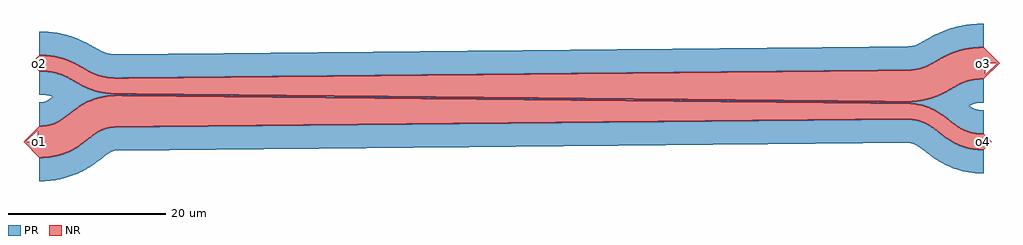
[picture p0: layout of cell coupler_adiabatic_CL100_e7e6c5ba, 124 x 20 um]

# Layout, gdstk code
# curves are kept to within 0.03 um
import gdstk
lib = gdstk.Library(unit=1e-6, precision=1e-09)
def P(c, l, *ps):  # polygons
    for p in ps: c.add(gdstk.Polygon(p, *l))
PR = (60, 0)
NR = (61, 0)

ng_49 = lib.new_cell('ng_49')
P(ng_49, NR, [(0,0.1),(-100.637,1.115),(-102.179,1.303),(-103.458,1.666),(-104.432,2.093),(-106.617,3.294),(-107.571,3.672),(-108.744,3.924),(-110,4),(-110,6),(-108.486,5.907),(-107.094,5.617),(-105.844,5.141),(-103.606,3.917),(-102.681,3.512),(-101.473,3.207),(-100,3.1),(0.372,4.107),(1.496,4.226),(2.484,4.505),(3.215,4.841),(5.318,5.998),(6.684,6.538),(7.481,6.747),(8.205,6.878),(8.985,6.963),(10,7),(10,3),(8.683,2.905),(7.654,2.646),(6.785,2.259),(4.682,1.102),(3.922,0.773),(3.189,0.524),(2.378,0.323),(1.643,0.201)],
  [(-110,-7),(-110,-3),(-109.337,-2.968),(-108.787,-2.883),(-108.251,-2.732),(-107.781,-2.532),(-107.008,-2.061),(-104.798,-0.436),(-104.123,-0.049),(-103.36,0.299),(-102.655,0.541),(-101.89,0.727),(-101.066,0.848),(-100.184,0.899),(0.495,-0.112),(1.266,-0.183),(1.976,-0.314),(2.751,-0.54),(3.448,-0.83),(4.543,-1.464),(6.727,-3.078),(7.744,-3.61),(8.787,-3.901),(10,-4),(10,-6),(9.832,-5.999),(9.035,-5.953),(8.301,-5.845),(7.626,-5.682),(6.891,-5.422),(6.232,-5.108),(5.641,-4.757),(3.494,-3.17),(2.665,-2.673),(2.083,-2.425),(1.522,-2.262),(0.994,-2.164),(0.267,-2.104),(-100.119,-3.101),(-101.213,-3.217),(-101.749,-3.368),(-102.219,-3.568),(-102.992,-4.039),(-105.202,-5.664),(-105.877,-6.051),(-106.64,-6.399),(-107.493,-6.683),(-108.27,-6.857),(-109.106,-6.964)])

unnamed_0_1 = lib.new_cell('Unnamed_0$1')

ps_51 = lib.new_cell('ps_51')
P(ps_51, PR, [(-100,3.1),(-101.473,3.207),(-102.681,3.512),(-103.606,3.917),(-105.844,5.141),(-107.094,5.617),(-108.486,5.907),(-110,6),(-110,9),(-108.835,8.958),(-107.92,8.858),(-107.055,8.702),(-106.246,8.495),(-105.5,8.247),(-104.572,7.858),(-102.234,6.585),(-101.721,6.355),(-100.937,6.16),(-100,6.1),(0.179,7.102),(0.895,7.166),(1.471,7.331),(4.018,8.702),(4.999,9.127),(5.964,9.454),(6.842,9.679),(7.97,9.874),(8.962,9.969),(10,10),(10,7),(8.985,6.963),(8.205,6.878),(7.481,6.747),(6.684,6.538),(5.963,6.282),(5.217,5.949),(3.283,4.877),(2.552,4.532),(1.667,4.261),(0.603,4.118)],
  [(10,-4),(8.787,-3.901),(7.744,-3.61),(6.727,-3.078),(4.543,-1.464),(3.448,-0.83),(2.751,-0.54),(1.976,-0.314),(1.266,-0.183),(0.495,-0.112),(-100,0.9),(-100.894,0.864),(-101.73,0.757),(-102.507,0.583),(-103.36,0.299),(-104.123,-0.049),(-104.798,-0.436),(-107.008,-2.061),(-107.781,-2.532),(-108.251,-2.732),(-108.787,-2.883),(-109.337,-2.968),(-110,-3),(-110,0),(-109.552,0.027),(-109.198,0.117),(-108.822,0.332),(-108.269,0.741),(-109.063,0.94),(-110,1),(-110,4),(-108.744,3.924),(-107.571,3.672),(-106.617,3.294),(-104.432,2.093),(-103.458,1.666),(-102.79,1.45),(-102.051,1.278),(-100.482,1.109),(0,0.1),(1.643,0.201),(2.378,0.323),(3.189,0.524),(3.922,0.773),(4.682,1.102),(6.785,2.259),(7.654,2.646),(8.683,2.905),(10,3),(10,0),(8.972,-0.092),(8.595,-0.205),(8.145,-0.415),(8.6,-0.704),(8.994,-0.872),(9.475,-0.971),(10,-1)],
  [(-110,-10),(-110,-7),(-109.106,-6.964),(-108.27,-6.857),(-107.493,-6.683),(-106.64,-6.399),(-105.877,-6.051),(-105.202,-5.664),(-102.992,-4.039),(-102.219,-3.568),(-101.295,-3.236),(-100.235,-3.104),(0.267,-2.104),(0.994,-2.164),(1.522,-2.262),(2.083,-2.425),(2.665,-2.673),(3.494,-3.17),(5.641,-4.757),(6.337,-5.163),(7.008,-5.469),(7.756,-5.719),(8.443,-5.872),(9.189,-5.967),(10,-6),(10,-9),(8.939,-8.957),(7.925,-8.827),(6.966,-8.613),(5.904,-8.259),(4.956,-7.827),(4.137,-7.356),(3.34,-6.814),(1.892,-5.711),(1.4,-5.396),(0.841,-5.183),(0.17,-5.103),(-100.137,-6.102),(-100.614,-6.157),(-100.951,-6.29),(-103.604,-8.203),(-104.496,-8.715),(-105.535,-9.189),(-106.703,-9.578),(-107.753,-9.812),(-108.856,-9.953)])

coupler_adiabatic_cl100_ = lib.new_cell('coupler_adiabatic_CL100_e7e6c5ba')
P(coupler_adiabatic_cl100_, NR, [(-110,-7),(-112,-5),(-110.5,-3.5),(-110.2,-3.5),(-111.718,-5),(-110.2,-5),(-110.2,-3.5),(-110.5,-3.5),(-110,-3)],
  [(-110,4),(-111,5),(-110.25,5.75),(-110.1,5.75),(-110.859,5),(-110.1,5),(-110.1,5.75),(-110.25,5.75),(-110,6)],
  [(10,3),(10,5),(10.2,5),(10.2,3.5),(11.718,5),(10,5),(10,7),(12,5)],
  [(10,-6),(10,-5),(10.1,-5),(10.1,-5.75),(10.859,-5),(10,-5),(10,-4),(11,-5)])
coupler_adiabatic_cl100_.add(gdstk.Reference(ng_49, (0,0)))
coupler_adiabatic_cl100_.add(gdstk.Reference(unnamed_0_1, (0,0)))
coupler_adiabatic_cl100_.add(gdstk.Reference(ps_51, (0,0)))
coupler_adiabatic_cl100_.add(gdstk.Label('o1', (-110,-5), layer=61, texttype=0))
coupler_adiabatic_cl100_.add(gdstk.Label('o2', (-110,5), layer=61, texttype=0))
coupler_adiabatic_cl100_.add(gdstk.Label('o3', (10,5), layer=61, texttype=0))
coupler_adiabatic_cl100_.add(gdstk.Label('o4', (10,-5), layer=61, texttype=0))

lib.write_gds('coupler_adiabatic_CL100_e7e6c5ba.gds')
